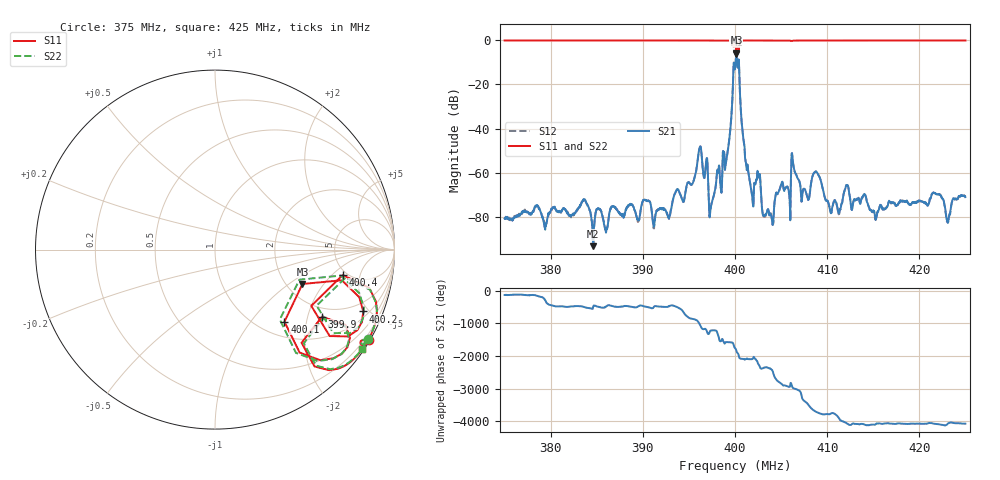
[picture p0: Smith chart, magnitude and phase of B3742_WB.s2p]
! S-Parameter for B3742 in Touchstone format with Magnitude (lin) and Phase
! Normalised impedance: 50 Ohm. Measurement system: 50 Ohm. Ta=20°C
! B3742_WB.S2P not matched. Measurement full 2-port calibrated incl. Port.Ext.
! Start: 375.0 MHz, Stop: 425.0MHz, Span 50MHz 1601 Pts., Step 31kHz.
! Date: 08/11/07 - EPCOS SAW COM WT AE PD; GS
! Pinning according data sheet recommendation for balanced operation:
! Please see data sheet recommendation for balanced operation.
! port | pin | signal
!  1  |  1  |  input
!  2  |  4  |  output
# MHZ S MA R 50
! freq  magS11 angS11  magS21 angS21  magS12 angS12  magS22 angS22
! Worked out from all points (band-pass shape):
!   1601 points, 375 MHz to 425 MHz, reference 50 ohm
!   highest |S21| = -6.18 dB at 400.2 MHz (marker M1); lowest = -93.2 dB at 384.6 MHz (marker M2)
!   |S21| within 3 dB of the highest: 400.0813 MHz to 400.2082 MHz (127 kHz wide, 0.0317 % of centre); 400.3953 MHz to 400.4133 MHz (17.99 kHz wide, 0.00449 % of centre)
!   lowest |S11| = -5.6 dB at 400.2 MHz (marker M3), VSWR 3.20, Z = 121 - j63.9 ohm
!   |S11| at or under -10 dB: nowhere
!   |S22| runs from -6.0 to -0.1 dB; largest |S21 - S12| = 0.0013
!   S11 on the Smith chart (normalised r, x): 375 MHz: 0.05, -3.68; 399.9 MHz: 1.67, -2.47; 400.1 MHz: 1.28, -1.50; 400.2 MHz: 1.33, -4.63; 400.4 MHz: 4.58, -2.74; 425 MHz: 0.05, -3.26
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375  0.9928 -30.4  9.227e-05 -123.4  8.755e-05 -123.2  0.9897 -30.3
383.3438  0.9921 -31.2  0.0002149 -112.5  0.0002065 -110.8  0.9893 -31.1
384.625  0.9918 -31.3  2.182e-05 -113.5  2.505e-05 -108.8  0.9891 -31.2
391.6875  0.9922 -32.1  0.0001505 -116.9  0.000151 -115.5  0.9895 -31.9
394.4062  0.9905 -32.5  0.0002184 64.3  0.0002172 64.8  0.9883 -32.4
396.1875  0.9863 -32.9  0.003797 46.4  0.0038 46.6  0.9838 -32.7
397.4375  0.9917 -33.3  0.0001957 -133.4  0.0001953 -133.0  0.9894 -33.1
399.1562  0.9897 -35.6  0.002588 -133.6  0.002581 -133.3  0.9874 -35.4
399.875  0.704 -32.1  0.3118 109.4  0.3116 109.5  0.7141 -32.5
400  0.915 -39.2  0.2259 46.7  0.2262 46.8  0.913 -39.8
400.125  0.5577 -46.1  0.4702 -15.3  0.4698 -15.2  0.5315 -47.2
400.1562  0.5236 -21.5  0.491 -46.7  0.4909 -46.6  0.4992 -19.6
400.25  0.8952 -22.6  0.2685 -104.9  0.2687 -104.7  0.8902 -21.3
400.4375  0.7253 -11.3  0.2877 132.2  0.2874 132.4  0.744 -12.1
401.75  0.9919 -30.6  0.000425 61.1  0.0004233 61.3  0.9899 -30.4
402.5312  0.9913 -31.3  0.0008395 -89.7  0.0008366 -89.9  0.9893 -31.2
403.1562  0.9914 -31.7  0.0001081 164.9  0.0001013 164.7  0.9894 -31.6
406.3438  0.9828 -31.5  0.001436 -110.0  0.00144 -110.2  0.9807 -31.4
408.3438  0.9891 -32.4  0.0007354 -27.0  0.0007483 -27.5  0.9875 -32.2
410.375  0.9912 -32.7  0.0001251 -176.1  0.0001326 -177.9  0.9892 -32.5
416.6875  0.9917 -33.4  0.0002221 -109.3  0.00022 -109.5  0.9898 -33.1
425  0.9915 -34.1  0.0002812 -120.8  0.0002886 -121.7  0.9894 -33.9
